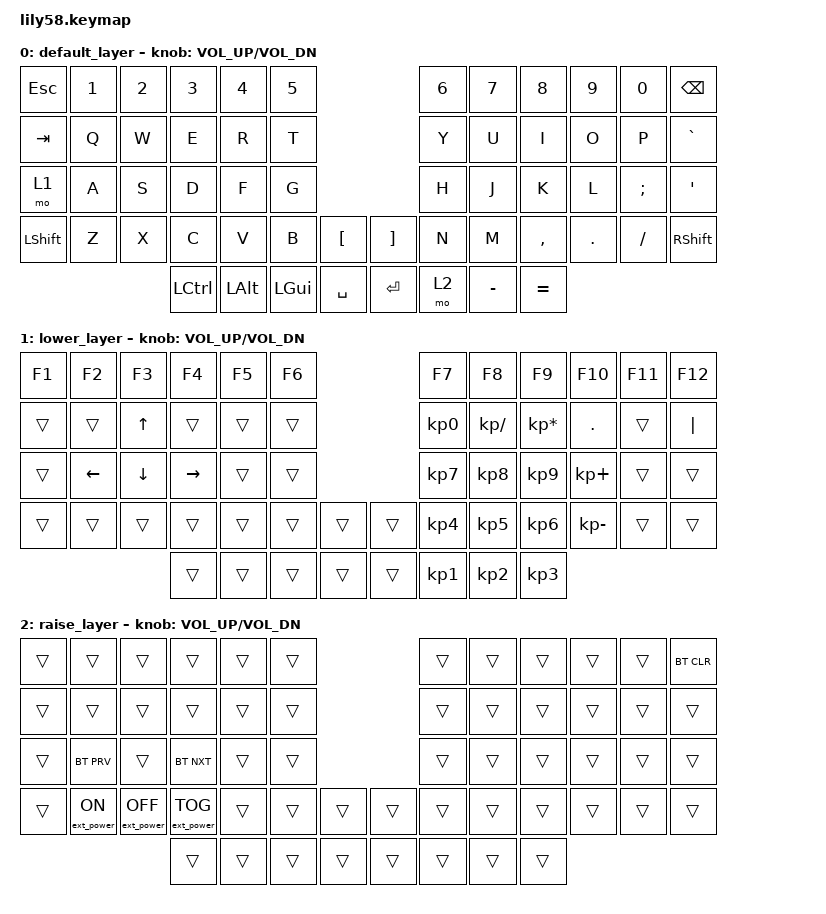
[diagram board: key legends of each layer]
/*
 * Copyright (c) 2020 The ZMK Contributors
 *
 * SPDX-License-Identifier: MIT
 */

#include <behaviors.dtsi>
#include <dt-bindings/zmk/bt.h>
#include <dt-bindings/zmk/ext_power.h>
#include <dt-bindings/zmk/keys.h>

/ {
    keymap {
        compatible = "zmk,keymap";

        default_layer {
            // -------------------------------------------------------------------------------------------------------------
            // |  ESC  |  1  |  2  |  3   |  4   |  5   |                   |  6    |  7    |  8    |  9   |   0   | BSPC  |
            // |  TAB  |  Q  |  W  |  E   |  R   |  T   |                   |  Y    |  U    |  I    |  O   |   P   |   ~   |
            // | LOWER |  A  |  S  |  D   |  F   |  G   |                   |  H    |  J    |  K    |  L   |   ;   |   '   |
            // | SHIFT |  Z  |  X  |  C   |  V   |  B   |   "["  |  |  "]"  |  N    |  M    |  ,    |  .   |   /   | SHIFT |
            //                     | CTRL | ALT  | GUI  |  SPACE |  | ENTER | RAISE |  -    |  =    |

            bindings = <
&kp ESC    &kp N1  &kp N2  &kp N3            &kp N4        &kp N5                               &kp N6  &kp N7     &kp N8     &kp N9   &kp N0    &kp BSPC
&kp TAB    &kp Q   &kp W   &kp E             &kp R         &kp T                                &kp Y   &kp U      &kp I      &kp O    &kp P     &kp GRAVE
&mo 1      &kp A   &kp S   &kp D             &kp F         &kp G                                &kp H   &kp J      &kp K      &kp L    &kp SEMI  &kp SQT
&kp LSHFT  &kp Z   &kp X   &kp C             &kp V         &kp B         &kp LBKT     &kp RBKT  &kp N   &kp M      &kp COMMA  &kp DOT  &kp FSLH  &kp RSHFT
                           &kp LEFT_CONTROL  &kp LEFT_ALT  &kp LEFT_GUI  &kp SPACE    &kp RET   &mo 2   &kp MINUS  &kp EQUAL
            >;

            sensor-bindings = <&inc_dec_kp C_VOL_UP C_VOL_DN>;
        };

        lower_layer {
            // --------------------------------------------------------------------------------------------
            // |  F1  | F2  |  F3 | F4  | F5  | F6  |                | F7  |  F8 |  F9 |  F10 | F11 | F12 |
            // |      |     |  ^  |     |     |     |                |  0  |  /  |  *  |  .   |     | "|" |
            // |      | <-  |  v  | ->  |     |     |                |  7  |  8  |  9  |  +   |     |     |
            // |      |     |     |     |     |     |      |  |      |  4  |  5  |  6  |  -   |     |     |
            //                    |     |     |     |      |  |      |  1  |  2  |  3  |

            bindings = <
&kp F1  &kp F2          &kp F3          &kp F4           &kp F5  &kp F6                    &kp F7     &kp F8         &kp F9           &kp F10       &kp F11  &kp F12
&trans  &trans          &kp UP_ARROW    &trans           &trans  &trans                    &kp KP_N0  &kp KP_DIVIDE  &kp KP_MULTIPLY  &kp DOT       &trans   &kp PIPE
&trans  &kp LEFT_ARROW  &kp DOWN_ARROW  &kp RIGHT_ARROW  &trans  &trans                    &kp KP_N7  &kp KP_N8      &kp KP_N9        &kp KP_PLUS   &trans   &trans
&trans  &trans          &trans          &trans           &trans  &trans  &trans    &trans  &kp KP_N4  &kp KP_N5      &kp KP_N6        &kp KP_MINUS  &trans   &trans
                                        &trans           &trans  &trans  &trans    &trans  &kp KP_N1  &kp KP_N2      &kp KP_N3
            >;

            sensor-bindings = <&inc_dec_kp C_VOL_UP C_VOL_DN>;
        };

        raise_layer {
            // ---------------------------------------------------------------------------------------------------------------
            // |       |       |     |       |      |      |                   |      |       |       |      |       | BTCLR |
            // |       |       |     |       |      |      |                   |      |       |       |      |       |       |
            // |       | BTPRV |     | BTNXT |      |      |                   |      |       |       |      |       |       |
            // |       |       |     |       |      |      |        |  |       |      |       |       |      |       |       |
            //                       |       |      |      |        |  |       |      |       |       |

            bindings = <
&trans  &trans            &trans             &trans             &trans  &trans                    &trans  &trans  &trans  &trans  &trans  &bt BT_CLR
&trans  &trans            &trans             &trans             &trans  &trans                    &trans  &trans  &trans  &trans  &trans  &trans
&trans  &bt BT_PRV        &trans             &bt BT_NXT         &trans  &trans                    &trans  &trans  &trans  &trans  &trans  &trans
&trans  &ext_power EP_ON  &ext_power EP_OFF  &ext_power EP_TOG  &trans  &trans  &trans    &trans  &trans  &trans  &trans  &trans  &trans  &trans
                                             &trans             &trans  &trans  &trans    &trans  &trans  &trans  &trans
            >;

            sensor-bindings = <&inc_dec_kp C_VOL_UP C_VOL_DN>;
        };
    };
};
